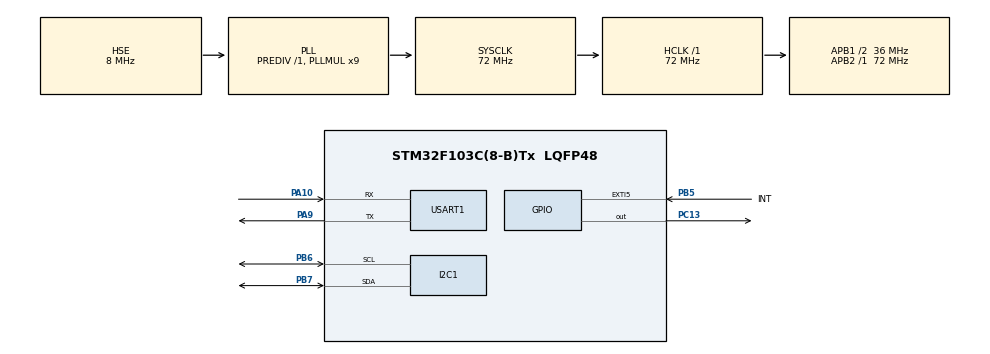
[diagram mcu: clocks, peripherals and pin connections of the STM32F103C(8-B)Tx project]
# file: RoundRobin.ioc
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Mcu.Family=STM32F1
Mcu.Name=STM32F103C(8-B)Tx
Mcu.Package=LQFP48
NVIC.EXTI9_5_IRQn=true\:0\:0\:false\:false\:true\:true\:true\:true
NVIC.PriorityGroup=NVIC_PRIORITYGROUP_4
PA10.Mode=Asynchronous
PA10.Signal=USART1_RX
PA13.Mode=Serial_Wire
PA13.Signal=SYS_JTMS-SWDIO
PA14.Mode=Serial_Wire
PA14.Signal=SYS_JTCK-SWCLK
PA9.Mode=Asynchronous
PA9.Signal=USART1_TX
PB5.GPIO_Label=INT
PB5.GPIO_ModeDefaultEXTI=GPIO_MODE_IT_FALLING
PB5.GPIO_PuPd=GPIO_PULLUP
PB5.Signal=GPXTI5
PB6.Mode=I2C
PB6.Signal=I2C1_SCL
PB7.Mode=I2C
PB7.Signal=I2C1_SDA
PC13-TAMPER-RTC.Signal=GPIO_Output
PC14-OSC32_IN.Mode=LSE-External-Oscillator
PC14-OSC32_IN.Signal=RCC_OSC32_IN
PC15-OSC32_OUT.Mode=LSE-External-Oscillator
PC15-OSC32_OUT.Signal=RCC_OSC32_OUT
PD0-OSC_IN.Mode=HSE-External-Oscillator
PD0-OSC_IN.Signal=RCC_OSC_IN
PD1-OSC_OUT.Mode=HSE-External-Oscillator
PD1-OSC_OUT.Signal=RCC_OSC_OUT
ProjectManager.HeapSize=0x200
ProjectManager.StackSize=0x400
ProjectManager.TargetToolchain=STM32CubeIDE
RCC.AHBFreq_Value=72000000
RCC.APB1CLKDivider=RCC_HCLK_DIV2
RCC.APB1Freq_Value=36000000
RCC.APB1TimFreq_Value=72000000
RCC.APB2Freq_Value=72000000
RCC.APB2TimFreq_Value=72000000
RCC.HCLKFreq_Value=72000000
RCC.PLLMUL=RCC_PLL_MUL9
RCC.PLLSourceVirtual=RCC_PLLSOURCE_HSE
RCC.SYSCLKFreq_VALUE=72000000
RCC.SYSCLKSource=RCC_SYSCLKSOURCE_PLLCLK
RCC.USBFreq_Value=72000000
USART1.VirtualMode=VM_ASYNC
board=custom

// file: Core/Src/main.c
/* USER CODE BEGIN Header */
/**
  ******************************************************************************
  * @file           : main.c
  * @brief          : Main program body
  ******************************************************************************
  * @attention
  *
  * Copyright (c) 2025 STMicroelectronics.
  * All rights reserved.
  *
  * This software is licensed under terms that can be found in the LICENSE file
  * in the root directory of this software component.
  * If no LICENSE file comes with this software, it is provided AS-IS.
  *
  ******************************************************************************
  */
/* USER CODE END Header */
#include "main.h"

/* USER CODE BEGIN Includes */
#include "liquidcrystal_i2c.h"
#include "stdio.h"
#include "MPR121.h"
#include "bmp180_for_stm32_hal.h"
#include "string.h"
#include "stdlib.h"
/* USER CODE END Includes */

/* USER CODE BEGIN PM */
#define MASK_RESPONSE 127
#define RESPONSES(Code)   (Code)
#define UPGRADE(Code) (Code+MASK_RESPONSE)
#define CODE_TEMP  1
#define CODE_PRES  2
#define CODE_KEY   3
#define CODE_COUNT 4
#define CODE_RESP  5
#define MY_ADDRESS 111
#include "funtion.h"
/* USER CODE END PM */

I2C_HandleTypeDef hi2c1;

UART_HandleTypeDef huart1;

/* USER CODE BEGIN PV */
char print_lcd_row1[30];
char print_lcd_row2[30];
char send_to_rs485[50];
char read_to_rs485[50];
char indicate_1[] = "Send To RS485";
char indicate_T[] = "Send Temperature";
char indicate_P[] = "Send Pressure";
char indicate_C[] = "Send Count";
char indicate_M[] = "Send Status";
char key_board[20];
float temperature;
int32_t pressure;
uint8_t len_key_board = 0, last_send = 0;
uint16_t last_touch = 0, new_touch = 0, count_touch = 0;
/* USER CODE END PV */

void SystemClock_Config(void);
static void MX_GPIO_Init(void);
static void MX_I2C1_Init(void);
static void MX_USART1_UART_Init(void);
/* USER CODE BEGIN PFP */
void HAL_GPIO_EXTI_Callback(uint16_t GPIO_Pin);
/* USER CODE END PFP */

/* USER CODE BEGIN 0 */
void TaskMPR121()
{
	  new_touch = touched();
	  if(new_touch != last_touch)
	  {
		  if(new_touch == 0)
		  {
			  char C = convert_to_char(last_touch);
			  if(C != '\0' && C != '*' && C != '#')
			  {
				  if(len_key_board < 16)
				  {
					  key_board[len_key_board++] = C;
					  key_board[len_key_board] = '\0';
				  }
				  else
				  {
					  memmove(key_board,&key_board[1],sizeof(key_board) - 1);
					  key_board[len_key_board - 1] = C;
					  key_board[len_key_board] = '\0';
				  }
			  }
			  else if(C == '#' && len_key_board > 0)
			  {
				  memset((void*)print_lcd_row2, 0, sizeof(print_lcd_row2));
				  memcpy((void*)print_lcd_row2, (void*)indicate_1, sizeof(indicate_1));
				  memcpy((void*)send_to_rs485, (void*)key_board, strlen(key_board));
				  gen_data_send_rs485(UPGRADE(CODE_KEY),send_to_rs485);
				  memset((void*)key_board, 0, sizeof(key_board));
				  len_key_board = 0;
			  }
			  else if(C == '*' && len_key_board > 0)
			  {
				  memset((void*)print_lcd_row2, 0, sizeof(print_lcd_row2));
				  key_board[--len_key_board] = '\0';
				  memcpy((void*)print_lcd_row2, (void*)key_board, len_key_board);
			  }
			  if(C != '\0' && len_key_board > 0 && C != '#')
			  {
				  memset((void*)print_lcd_row2, 0, sizeof(print_lcd_row2));
				  memcpy((void*)print_lcd_row2, (void*)key_board, strlen(key_board));
			  }
		  }
	  }
	  last_touch = new_touch;
}

void TaskTempBMP180()
{
	temperature = BMP180_GetTemperature();
}

void TaskPressBMP180()
{
	pressure = BMP180_GetPressure();
}

void TaskLCD()
{
	if(strlen(print_lcd_row1) > 0)
	{
		  HD44780_SetCursor(0,0);
		  HD44780_PrintStr(print_lcd_row1);
		  memset((void*)print_lcd_row1, 0, sizeof(print_lcd_row1));
	}
	else
	{
		HD44780_Clear();
		sprintf(print_lcd_row1, "%0.1f\t %dKPa %d", temperature, (int)pressure/1000, (int)count_touch);
		HD44780_PrintStr(print_lcd_row1);
	}
	if(strlen(print_lcd_row2) > 0)
	{
		  HD44780_SetCursor(0,1);
		  HD44780_PrintStr(print_lcd_row2);
	}
}

void TaskRX()
{
	memset((void*)read_to_rs485,0,sizeof(read_to_rs485));
	HAL_UART_Receive(&huart1, (uint8_t *)&read_to_rs485, sizeof (read_to_rs485) , 1000);
	  if(strlen(read_to_rs485) > 1)
	  {
		  DataStruct result;
		  parse_data(read_to_rs485,&result);
		  if(result.Addr == MY_ADDRESS)
		  {
			  if(result.Code == 1)
			  {
				  if(result.Data[0] == '1')
				  {
					  memset((void*)send_to_rs485,0,sizeof(send_to_rs485));
					  sprintf(send_to_rs485, "%.1fC", temperature);
					  gen_data_send_rs485(RESPONSES(CODE_TEMP),send_to_rs485);
					  memset((void*)print_lcd_row2, 0, sizeof(print_lcd_row2));
					  memcpy((void*)print_lcd_row2, (void*)indicate_T, sizeof(indicate_T));

				  }
				  else if (result.Data[0] == '2')
				  {
					  memset((void*)send_to_rs485,0,sizeof(send_to_rs485));
					  sprintf(send_to_rs485, "%dPa", (int) pressure);
					  gen_data_send_rs485(RESPONSES(CODE_PRES),send_to_rs485);
					  memset((void*)print_lcd_row2, 0, sizeof(print_lcd_row2));
					  memcpy((void*)print_lcd_row2, (void*)indicate_P, sizeof(indicate_P));

				  }
				  else if (result.Data[0] == '4')
				  {
					  memset((void*)send_to_rs485,0,sizeof(send_to_rs485));
					  sprintf(send_to_rs485, "%dN", (int) count_touch);
					  gen_data_send_rs485(RESPONSES(CODE_COUNT),send_to_rs485);
					  memset((void*)print_lcd_row2, 0, sizeof(print_lcd_row2));
					  memcpy((void*)print_lcd_row2, (void*)indicate_C, sizeof(indicate_C));
				  }
			  }
			  else if(result.Code == 2)
			  {
				  result.Data[result.Len] = '\0';
				  memset((void*)print_lcd_row2, 0, sizeof(print_lcd_row2));
				  memcpy((void*)print_lcd_row2, (void*)(char*)result.Data, strlen((char*)result.Data));
				  memset((void*)send_to_rs485,0,sizeof(send_to_rs485));
				  sprintf(send_to_rs485, "Okee");
				  gen_data_send_rs485(RESPONSES(CODE_RESP),send_to_rs485);
			  }
			  else if(result.Code == 3)
			  {
				  result.Data[result.Len] = '\0';
				  memset((void*)print_lcd_row2, 0, sizeof(print_lcd_row2));
				  memcpy((void*)print_lcd_row2, (void*)indicate_M, sizeof(indicate_M));
				  memset((void*)send_to_rs485,0,sizeof(send_to_rs485));
				  sprintf(send_to_rs485, "Okee");
				  gen_data_send_rs485(RESPONSES(CODE_RESP),send_to_rs485);
			  }
		  }
	  }
}

void TaskTX()
{
	if(strlen(send_to_rs485) > 0)
	{
		  if(HAL_UART_Transmit(&huart1, (uint8_t *)&send_to_rs485, strlen(send_to_rs485) , 1000) == HAL_OK)
		  {
		  	  memset((void*)send_to_rs485, 0, sizeof(send_to_rs485));
			  HAL_GPIO_TogglePin(GPIOC, GPIO_PIN_13);
		  }
	}
	else if(last_send == 1)
	{
		  last_send = 1 - last_send;
		  memset((void*)send_to_rs485,0,sizeof(send_to_rs485));
		  sprintf(send_to_rs485, "%.1fC", temperature);
		  gen_data_send_rs485(UPGRADE(CODE_TEMP),send_to_rs485);
		  HAL_UART_Transmit(&huart1, (uint8_t *)&send_to_rs485, strlen(send_to_rs485) , 1000);
	}
	else if(last_send == 0)
	{
	      last_send = 1 - last_send;
		  memset((void*)send_to_rs485, 0, sizeof(send_to_rs485));
		  sprintf(send_to_rs485, "%dPa", (int) pressure);
		  gen_data_send_rs485(UPGRADE(CODE_PRES),send_to_rs485);
		  HAL_UART_Transmit(&huart1, (uint8_t *)&send_to_rs485, strlen(send_to_rs485) , 1000);
	}
	memset((void*)send_to_rs485, 0, sizeof(send_to_rs485));
}
typedef struct {
    void (*task_function)();   // Con trỏ tới hàm task
    uint32_t period;           // Chu kỳ thực thi (ms)
    uint32_t next_run;         // Thời gian thực thi tiếp theo (ms)
} Task;

// Bảng lịch
Task task_list[] = {
    {TaskMPR121, 200, 0},
    {TaskTempBMP180, 5000, 0},      	// (*) thuc te la 60s, tuy nhien cho ve 5s de demo
    {TaskPressBMP180, 5000, 0},         // (*) thuc te la 60s, tuy nhien cho ve 5s de demo
    {TaskLCD, 1000, 0},
	{TaskRX, 150,0},
	{TaskTX, 1000,0}
};

const uint8_t NUM_TASKS = sizeof(task_list) / sizeof(Task);
/* USER CODE END 0 */

int main(void)
{

  /* MCU Configuration--------------------------------------------------------*/

  /* Reset of all peripherals, Initializes the Flash interface and the Systick. */
  HAL_Init();

  /* Configure the system clock */
  SystemClock_Config();

  /* Initialize all configured peripherals */
  MX_GPIO_Init();
  MX_I2C1_Init();
  MX_USART1_UART_Init();
  /* USER CODE BEGIN 2 */
  HD44780_Init(2);
  MPR121_Init();
  BMP180_Init(&hi2c1);
  MPR121_Init();
  BMP180_SetOversampling(BMP180_ULTRA);
  BMP180_UpdateCalibrationData();
  HD44780_SetCursor(0,0);
  HD44780_PrintStr("INIT LCD 1602");
//  count_touch = 0;
  uint32_t current_time = 0;
  /* USER CODE END 2 */

  /* Infinite loop */
  while (1)
  {

    /* USER CODE BEGIN 3 */
	  current_time = HAL_GetTick();  // Lấy thời gian hiện tại (ms)

	  	         // Duyệt qua bảng lịch
	  	         for (uint8_t i = 0; i < NUM_TASKS; i++) {
	  	             if (current_time >= task_list[i].next_run) {
	  	                 // Gọi hàm task
	  	                 task_list[i].task_function();

	  	                 // Cập nhật thời gian thực thi tiếp theo
	  	                 task_list[i].next_run = current_time + task_list[i].period;
	  	             }
	  	         }

  }
  /* USER CODE END 3 */
}

void SystemClock_Config(void)
{
  RCC_OscInitTypeDef RCC_OscInitStruct = {0};
  RCC_ClkInitTypeDef RCC_ClkInitStruct = {0};

  /** Initializes the RCC Oscillators according to the specified parameters
  * in the RCC_OscInitTypeDef structure.
  */
  RCC_OscInitStruct.OscillatorType = RCC_OSCILLATORTYPE_HSE;
  RCC_OscInitStruct.HSEState = RCC_HSE_ON;
  RCC_OscInitStruct.HSEPredivValue = RCC_HSE_PREDIV_DIV1;
  RCC_OscInitStruct.HSIState = RCC_HSI_ON;
  RCC_OscInitStruct.PLL.PLLState = RCC_PLL_ON;
  RCC_OscInitStruct.PLL.PLLSource = RCC_PLLSOURCE_HSE;
  RCC_OscInitStruct.PLL.PLLMUL = RCC_PLL_MUL9;
  if (HAL_RCC_OscConfig(&RCC_OscInitStruct) != HAL_OK)
  {
    Error_Handler();
  }

  /** Initializes the CPU, AHB and APB buses clocks
  */
  RCC_ClkInitStruct.ClockType = RCC_CLOCKTYPE_HCLK|RCC_CLOCKTYPE_SYSCLK
                              |RCC_CLOCKTYPE_PCLK1|RCC_CLOCKTYPE_PCLK2;
  RCC_ClkInitStruct.SYSCLKSource = RCC_SYSCLKSOURCE_PLLCLK;
  RCC_ClkInitStruct.AHBCLKDivider = RCC_SYSCLK_DIV1;
  RCC_ClkInitStruct.APB1CLKDivider = RCC_HCLK_DIV2;
  RCC_ClkInitStruct.APB2CLKDivider = RCC_HCLK_DIV1;

  if (HAL_RCC_ClockConfig(&RCC_ClkInitStruct, FLASH_LATENCY_2) != HAL_OK)
  {
    Error_Handler();
  }
}

static void MX_I2C1_Init(void)
{

  hi2c1.Instance = I2C1;
  hi2c1.Init.ClockSpeed = 100000;
  hi2c1.Init.DutyCycle = I2C_DUTYCYCLE_2;
  hi2c1.Init.OwnAddress1 = 0;
  hi2c1.Init.AddressingMode = I2C_ADDRESSINGMODE_7BIT;
  hi2c1.Init.DualAddressMode = I2C_DUALADDRESS_DISABLE;
  hi2c1.Init.OwnAddress2 = 0;
  hi2c1.Init.GeneralCallMode = I2C_GENERALCALL_DISABLE;
  hi2c1.Init.NoStretchMode = I2C_NOSTRETCH_DISABLE;
  if (HAL_I2C_Init(&hi2c1) != HAL_OK)
  {
    Error_Handler();
  }

}

static void MX_USART1_UART_Init(void)
{

  huart1.Instance = USART1;
  huart1.Init.BaudRate = 115200;
  huart1.Init.WordLength = UART_WORDLENGTH_8B;
  huart1.Init.StopBits = UART_STOPBITS_1;
  huart1.Init.Parity = UART_PARITY_NONE;
  huart1.Init.Mode = UART_MODE_TX_RX;
  huart1.Init.HwFlowCtl = UART_HWCONTROL_NONE;
  huart1.Init.OverSampling = UART_OVERSAMPLING_16;
  if (HAL_UART_Init(&huart1) != HAL_OK)
  {
    Error_Handler();
  }

}

static void MX_GPIO_Init(void)
{
  GPIO_InitTypeDef GPIO_InitStruct = {0};

  /* GPIO Ports Clock Enable */
  __HAL_RCC_GPIOC_CLK_ENABLE();
  __HAL_RCC_GPIOD_CLK_ENABLE();
  __HAL_RCC_GPIOA_CLK_ENABLE();
  __HAL_RCC_GPIOB_CLK_ENABLE();

  /*Configure GPIO pin Output Level */
  HAL_GPIO_WritePin(GPIOC, GPIO_PIN_13, GPIO_PIN_RESET);

  /*Configure GPIO pin : PC13 */
  GPIO_InitStruct.Pin = GPIO_PIN_13;
  GPIO_InitStruct.Mode = GPIO_MODE_OUTPUT_PP;
  GPIO_InitStruct.Pull = GPIO_NOPULL;
  GPIO_InitStruct.Speed = GPIO_SPEED_FREQ_LOW;
  HAL_GPIO_Init(GPIOC, &GPIO_InitStruct);

  /*Configure GPIO pin : INT_Pin */
  GPIO_InitStruct.Pin = INT_Pin;
  GPIO_InitStruct.Mode = GPIO_MODE_IT_FALLING;
  GPIO_InitStruct.Pull = GPIO_PULLUP;
  HAL_GPIO_Init(INT_GPIO_Port, &GPIO_InitStruct);

  /* EXTI interrupt init*/
  HAL_NVIC_SetPriority(EXTI9_5_IRQn, 0, 0);
  HAL_NVIC_EnableIRQ(EXTI9_5_IRQn);

}

/* USER CODE BEGIN 4 */
void HAL_GPIO_EXTI_Callback(uint16_t GPIO_Pin)
{
	if(GPIO_Pin == INT_Pin) {
		HAL_GPIO_TogglePin(GPIOC, GPIO_PIN_13);
		count_touch++;
	} else {
		__NOP();
	}
}

/* USER CODE END 4 */

void Error_Handler(void)
{
  __disable_irq();
  while (1)
  {
  }
}
